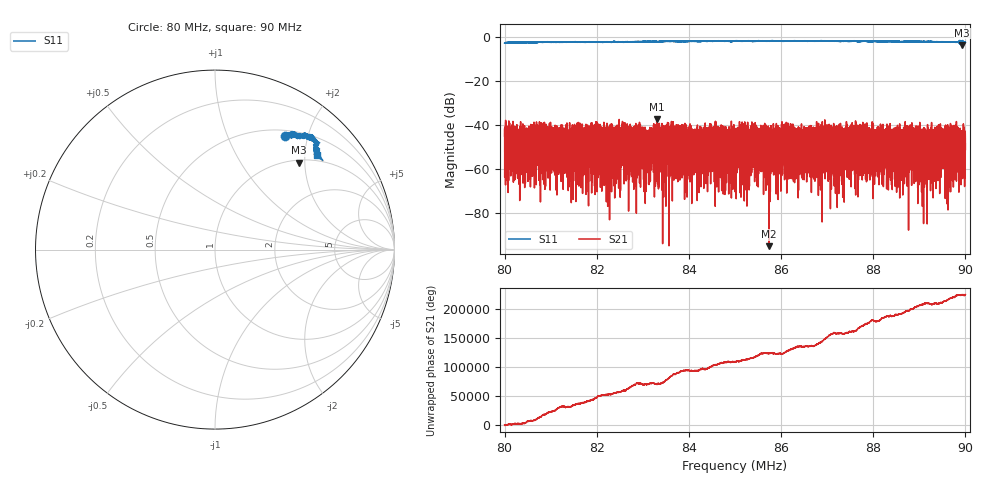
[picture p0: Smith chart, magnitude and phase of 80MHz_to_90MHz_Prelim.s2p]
# HZ S RI R 50
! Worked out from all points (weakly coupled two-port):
!   20200 points, 80 MHz to 90 MHz, reference 50 ohm
!   highest |S21| = -37.46 dB at 83.3 MHz (marker M1); lowest = -95.3 dB at 85.74 MHz (marker M2)
!   lowest |S11| = -3.4 dB at 89.93 MHz (marker M3), VSWR 5.12, Z = 52.8 + j93.5 ohm
!   |S11| at or under -10 dB: nowhere
!   S12 and S22 are empty: the file has one direction only
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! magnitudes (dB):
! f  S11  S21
! 80 MHz  -2.6  -45.0
! 80.29 MHz  -2.4  -50.0
! 80.74 MHz  -2.2  -45.0
! 81.13 MHz  -2.2  -52.3
! 81.67 MHz  -2.2  -41.2
! 82.35 MHz  -2.1  -49.6
! 82.57 MHz  -2.1  -44.2
! 83.3 MHz  -2.0  -37.5
! 83.33 MHz  -2.0  -42.1
! 83.9 MHz  -1.8  -46.3
! 84.04 MHz  -1.8  -50.8
! 84.52 MHz  -1.7  -42.6
! 85 MHz  -1.6  -52.7
! 85.19 MHz  -1.7  -46.0
! 85.74 MHz  -1.8  -95.3
! 86.67 MHz  -1.6  -46.7
! 88.33 MHz  -1.8  -48.1
! 88.91 MHz  -1.9  -52.0
! 89.16 MHz  -2.0  -54.2
! 89.79 MHz  -2.1  -45.2
! 89.93 MHz  -3.4  -45.6
! 90 MHz  -2.2  -51.2
